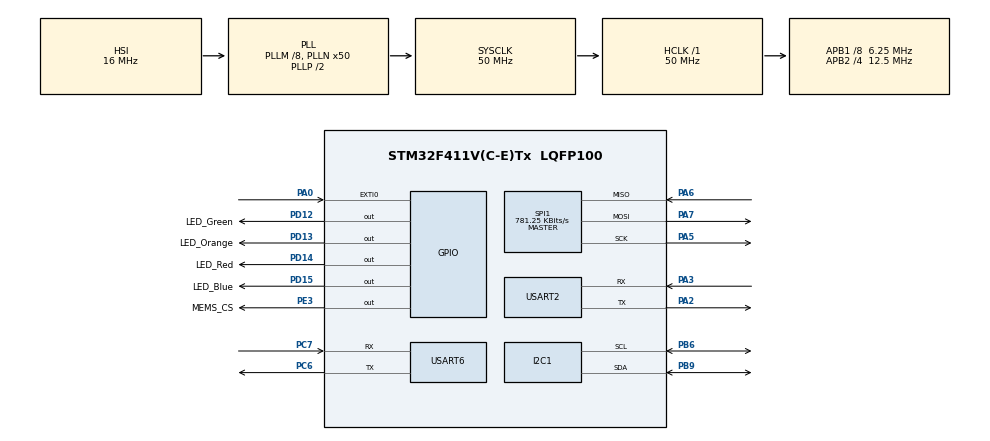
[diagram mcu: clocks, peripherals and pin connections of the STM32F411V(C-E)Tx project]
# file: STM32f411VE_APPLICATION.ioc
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FREERTOS.Mutexes01=uartMutex,Dynamic,NULL
FREERTOS.Queues01=accelDataQueue,4,uint16_t,0,Dynamic,NULL,NULL
FREERTOS.Tasks01=accelTask,24,480,AccelReadThread,Default,NULL,Dynamic,NULL,NULL;sendTask,24,240,TrasnsmitUartThread,Default,NULL,Dynamic,NULL,NULL;updateTask,40,480,UpdateHandleThread,Default,NULL,Dynamic,NULL,NULL
I2C1.I2C_Mode=I2C_Fast
Mcu.Family=STM32F4
Mcu.Name=STM32F411V(C-E)Tx
Mcu.Package=LQFP100
NVIC.EXTI0_IRQn=true\:5\:0\:false\:false\:true\:true\:true\:true
NVIC.PriorityGroup=NVIC_PRIORITYGROUP_4
NVIC.TIM5_IRQn=true\:0\:0\:false\:false\:true\:false\:false\:true
NVIC.TimeBase=TIM5_IRQn
NVIC.TimeBaseIP=TIM5
PA0-WKUP.Signal=GPXTI0
PA2.Mode=Asynchronous
PA2.Signal=USART2_TX
PA3.Mode=Asynchronous
PA3.Signal=USART2_RX
PA5.Mode=Full_Duplex_Master
PA5.Signal=SPI1_SCK
PA6.Mode=Full_Duplex_Master
PA6.Signal=SPI1_MISO
PA7.Mode=Full_Duplex_Master
PA7.Signal=SPI1_MOSI
PB6.Mode=I2C
PB6.Signal=I2C1_SCL
PB9.Mode=I2C
PB9.Signal=I2C1_SDA
PC6.Mode=Asynchronous
PC6.Signal=USART6_TX
PC7.Mode=Asynchronous
PC7.Signal=USART6_RX
PD12.GPIO_Label=LED_Green
PD12.GPIO_ModeDefaultOutputPP=GPIO_MODE_OUTPUT_PP
PD12.GPIO_PuPd=GPIO_NOPULL
PD12.GPIO_Speed=GPIO_SPEED_FREQ_LOW
PD12.PinState=GPIO_PIN_RESET
PD12.Signal=GPIO_Output
PD13.GPIO_Label=LED_Orange
PD13.GPIO_ModeDefaultOutputPP=GPIO_MODE_OUTPUT_PP
PD13.GPIO_PuPd=GPIO_NOPULL
PD13.GPIO_Speed=GPIO_SPEED_FREQ_LOW
PD13.PinState=GPIO_PIN_RESET
PD13.Signal=GPIO_Output
PD14.GPIO_Label=LED_Red
PD14.GPIO_ModeDefaultOutputPP=GPIO_MODE_OUTPUT_PP
PD14.GPIO_PuPd=GPIO_NOPULL
PD14.GPIO_Speed=GPIO_SPEED_FREQ_LOW
PD14.PinState=GPIO_PIN_RESET
PD14.Signal=GPIO_Output
PD15.GPIO_Label=LED_Blue
PD15.GPIO_ModeDefaultOutputPP=GPIO_MODE_OUTPUT_PP
PD15.GPIO_PuPd=GPIO_NOPULL
PD15.GPIO_Speed=GPIO_SPEED_FREQ_LOW
PD15.PinState=GPIO_PIN_RESET
PD15.Signal=GPIO_Output
PE3.GPIO_Label=MEMS_CS
PE3.GPIO_PuPd=GPIO_PULLUP
PE3.PinState=GPIO_PIN_SET
PE3.Signal=GPIO_Output
ProjectManager.HeapSize=0x200
ProjectManager.StackSize=0x400
ProjectManager.TargetToolchain=MDK-ARM V5
RCC.48MHZClocksFreq_Value=25000000
RCC.AHBFreq_Value=50000000
RCC.APB1CLKDivider=RCC_HCLK_DIV8
RCC.APB1Freq_Value=6250000
RCC.APB1TimFreq_Value=12500000
RCC.APB2CLKDivider=RCC_HCLK_DIV4
RCC.APB2Freq_Value=12500000
RCC.APB2TimFreq_Value=25000000
RCC.CortexFreq_Value=50000000
RCC.HCLKFreq_Value=50000000
RCC.HSE_VALUE=25000000
RCC.HSI_VALUE=16000000
RCC.LSE_VALUE=32768
RCC.PLLM=8
RCC.PLLN=50
RCC.SYSCLKFreq_VALUE=50000000
RCC.SYSCLKSource=RCC_SYSCLKSOURCE_PLLCLK
RCC.VCOOutputFreq_Value=100000000
SPI1.BaudRatePrescaler=SPI_BAUDRATEPRESCALER_16
SPI1.CalculateBaudRate=781.25 KBits/s
SPI1.Direction=SPI_DIRECTION_2LINES
SPI1.Mode=SPI_MODE_MASTER
SPI1.VirtualType=VM_MASTER
USART2.VirtualMode=VM_ASYNC
USART6.VirtualMode=VM_ASYNC
VP_FREERTOS_VS_CMSIS_V2.Mode=CMSIS_V2
VP_SYS_VS_tim5.Mode=TIM5
board=custom

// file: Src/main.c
/* USER CODE BEGIN Header */
/**
  ******************************************************************************
  * @file           : main.c
  * @brief          : Main program body
  ******************************************************************************
  * @attention
  *
  * <h2><center>&copy; Copyright (c) 2019 STMicroelectronics.
  * All rights reserved.</center></h2>
  *
  * This software component is licensed by ST under Ultimate Liberty license
  * SLA0044, the "License"; You may not use this file except in compliance with
  * the License. You may obtain a copy of the License at:
  *                             www.st.com/SLA0044
  *
  ******************************************************************************
  */
/* USER CODE END Header */

#include "main.h"
#include "cmsis_os.h"

/* USER CODE BEGIN Includes */
#include <string.h>
#include <stdlib.h>
#include <stdio.h>
#include <stdarg.h>
/* USER CODE END Includes */

/* USER CODE BEGIN PD */
#define BL_DEBEG_MSG_EN			// For Debugging
#define C_UART		&huart2
#define D_UART		&huart6
/* USER CODE END PD */

I2C_HandleTypeDef hi2c1;

SPI_HandleTypeDef hspi1;

UART_HandleTypeDef huart2;
UART_HandleTypeDef huart6;

osThreadId_t accelTaskHandle;
osThreadId_t sendTaskHandle;
osThreadId_t updateTaskHandle;
osMessageQueueId_t accelDataQueueHandle;
osMutexId_t uartMutexHandle;
/* USER CODE BEGIN PV */

char uartTxBuf[32];
osEventFlagsId_t evt_id;
uint32_t flags;

//----------------------------------------------------
SignatureTypeDef signature_sector;
uint8_t	rx_buffer[MAX_RX_BUFFER] = {0};
//----------------------------------------------------

/* USER CODE END PV */

void SystemClock_Config(void);
static void MX_GPIO_Init(void);
static void MX_SPI1_Init(void);
static void MX_USART2_UART_Init(void);
static void MX_USART6_UART_Init(void);
static void MX_I2C1_Init(void);
void AccelReadThread(void *argument);
void TrasnsmitUartThread(void *argument);
void UpdateHandleThread(void *argument);

/* USER CODE BEGIN PFP */
static void print_debug_msg(char *format,...);
/* USER CODE END PFP */

int main(void)
{

  /* MCU Configuration--------------------------------------------------------*/

  /* Reset of all peripherals, Initializes the Flash interface and the Systick. */
  HAL_Init();

  /* Configure the system clock */
  SystemClock_Config();

  /* Initialize all configured peripherals */
  MX_GPIO_Init();
  MX_SPI1_Init();
  MX_USART2_UART_Init();
  MX_USART6_UART_Init();
  MX_I2C1_Init();
  /* USER CODE BEGIN 2 */
	#ifdef STM32F407VGT6
	accel_init(&hspi1);	// initializing Accelerometer
	#endif
  /* USER CODE END 2 */

  osKernelInitialize();

  /* Create the mutex(es) */
  /* definition and creation of uartMutex */
  const osMutexAttr_t uartMutex_attributes = {
    .name = "uartMutex"
  };
  uartMutexHandle = osMutexNew(&uartMutex_attributes);

  /* Create the queue(s) */
  /* definition and creation of accelDataQueue */
  const osMessageQueueAttr_t accelDataQueue_attributes = {
    .name = "accelDataQueue"
  };
  accelDataQueueHandle = osMessageQueueNew (4, sizeof(MessageQueue_st), &accelDataQueue_attributes);

  /* Create the thread(s) */
  /* definition and creation of accelTask */
  const osThreadAttr_t accelTask_attributes = {
    .name = "accelTask",
    .priority = (osPriority_t) osPriorityNormal,
    .stack_size = 480
  };
  accelTaskHandle = osThreadNew(AccelReadThread, NULL, &accelTask_attributes);

  /* definition and creation of sendTask */
  const osThreadAttr_t sendTask_attributes = {
    .name = "sendTask",
    .priority = (osPriority_t) osPriorityNormal,
    .stack_size = 240
  };
  sendTaskHandle = osThreadNew(TrasnsmitUartThread, NULL, &sendTask_attributes);

  /* definition and creation of updateTask */
  const osThreadAttr_t updateTask_attributes = {
    .name = "updateTask",
    .priority = (osPriority_t) osPriorityHigh,
    .stack_size = 480
  };
  updateTaskHandle = osThreadNew(UpdateHandleThread, NULL, &updateTask_attributes);

  /* USER CODE BEGIN RTOS_THREADS */
  /* add threads, ... */

	//  creates a new event flags object that is used to
	//	send events across thread
	//	It can be safely called before the RTOS is started
	//	(call to osKernelStart), but not before it is initialized
	//	(call to osKernelInitialize).
	evt_id = osEventFlagsNew(NULL);
	  if (evt_id == NULL) {
    HAL_GPIO_WritePin(GPIOD, LED_Red_Pin, GPIO_PIN_SET); // Event Flags object not created, handle failure
    while(1);
  }
	osEventFlagsClear(evt_id, FLAGS_MSK);

  /* USER CODE END RTOS_THREADS */

  /* Start scheduler */
  osKernelStart();

  /* We should never get here as control is now taken by the scheduler */

  /* Infinite loop */
  while (1)
  {

  }
}

void SystemClock_Config(void)
{
  RCC_OscInitTypeDef RCC_OscInitStruct = {0};
  RCC_ClkInitTypeDef RCC_ClkInitStruct = {0};

  /** Configure the main internal regulator output voltage
  */
  __HAL_RCC_PWR_CLK_ENABLE();
  __HAL_PWR_VOLTAGESCALING_CONFIG(PWR_REGULATOR_VOLTAGE_SCALE1);
  /** Initializes the CPU, AHB and APB busses clocks
  */
  RCC_OscInitStruct.OscillatorType = RCC_OSCILLATORTYPE_HSI;
  RCC_OscInitStruct.HSIState = RCC_HSI_ON;
  RCC_OscInitStruct.HSICalibrationValue = RCC_HSICALIBRATION_DEFAULT;
  RCC_OscInitStruct.PLL.PLLState = RCC_PLL_ON;
  RCC_OscInitStruct.PLL.PLLSource = RCC_PLLSOURCE_HSI;
  RCC_OscInitStruct.PLL.PLLM = 8;
  RCC_OscInitStruct.PLL.PLLN = 50;
  RCC_OscInitStruct.PLL.PLLP = RCC_PLLP_DIV2;
  RCC_OscInitStruct.PLL.PLLQ = 4;
  if (HAL_RCC_OscConfig(&RCC_OscInitStruct) != HAL_OK)
  {
    Error_Handler();
  }
  /** Initializes the CPU, AHB and APB busses clocks
  */
  RCC_ClkInitStruct.ClockType = RCC_CLOCKTYPE_HCLK|RCC_CLOCKTYPE_SYSCLK
                              |RCC_CLOCKTYPE_PCLK1|RCC_CLOCKTYPE_PCLK2;
  RCC_ClkInitStruct.SYSCLKSource = RCC_SYSCLKSOURCE_PLLCLK;
  RCC_ClkInitStruct.AHBCLKDivider = RCC_SYSCLK_DIV1;
  RCC_ClkInitStruct.APB1CLKDivider = RCC_HCLK_DIV8;
  RCC_ClkInitStruct.APB2CLKDivider = RCC_HCLK_DIV4;

  if (HAL_RCC_ClockConfig(&RCC_ClkInitStruct, FLASH_LATENCY_1) != HAL_OK)
  {
    Error_Handler();
  }
}

static void MX_I2C1_Init(void)
{

  hi2c1.Instance = I2C1;
  hi2c1.Init.ClockSpeed = 400000;
  hi2c1.Init.DutyCycle = I2C_DUTYCYCLE_2;
  hi2c1.Init.OwnAddress1 = 0;
  hi2c1.Init.AddressingMode = I2C_ADDRESSINGMODE_7BIT;
  hi2c1.Init.DualAddressMode = I2C_DUALADDRESS_DISABLE;
  hi2c1.Init.OwnAddress2 = 0;
  hi2c1.Init.GeneralCallMode = I2C_GENERALCALL_DISABLE;
  hi2c1.Init.NoStretchMode = I2C_NOSTRETCH_DISABLE;
  if (HAL_I2C_Init(&hi2c1) != HAL_OK)
  {
    Error_Handler();
  }

}

static void MX_SPI1_Init(void)
{

  /* SPI1 parameter configuration*/
  hspi1.Instance = SPI1;
  hspi1.Init.Mode = SPI_MODE_MASTER;
  hspi1.Init.Direction = SPI_DIRECTION_2LINES;
  hspi1.Init.DataSize = SPI_DATASIZE_8BIT;
  hspi1.Init.CLKPolarity = SPI_POLARITY_LOW;
  hspi1.Init.CLKPhase = SPI_PHASE_1EDGE;
  hspi1.Init.NSS = SPI_NSS_SOFT;
  hspi1.Init.BaudRatePrescaler = SPI_BAUDRATEPRESCALER_16;
  hspi1.Init.FirstBit = SPI_FIRSTBIT_MSB;
  hspi1.Init.TIMode = SPI_TIMODE_DISABLE;
  hspi1.Init.CRCCalculation = SPI_CRCCALCULATION_DISABLE;
  hspi1.Init.CRCPolynomial = 10;
  if (HAL_SPI_Init(&hspi1) != HAL_OK)
  {
    Error_Handler();
  }

}

static void MX_USART2_UART_Init(void)
{

  huart2.Instance = USART2;
  huart2.Init.BaudRate = 115200;
  huart2.Init.WordLength = UART_WORDLENGTH_8B;
  huart2.Init.StopBits = UART_STOPBITS_1;
  huart2.Init.Parity = UART_PARITY_NONE;
  huart2.Init.Mode = UART_MODE_TX_RX;
  huart2.Init.HwFlowCtl = UART_HWCONTROL_NONE;
  huart2.Init.OverSampling = UART_OVERSAMPLING_16;
  if (HAL_UART_Init(&huart2) != HAL_OK)
  {
    Error_Handler();
  }

}

static void MX_USART6_UART_Init(void)
{

  huart6.Instance = USART6;
  huart6.Init.BaudRate = 115200;
  huart6.Init.WordLength = UART_WORDLENGTH_8B;
  huart6.Init.StopBits = UART_STOPBITS_1;
  huart6.Init.Parity = UART_PARITY_NONE;
  huart6.Init.Mode = UART_MODE_TX_RX;
  huart6.Init.HwFlowCtl = UART_HWCONTROL_NONE;
  huart6.Init.OverSampling = UART_OVERSAMPLING_16;
  if (HAL_UART_Init(&huart6) != HAL_OK)
  {
    Error_Handler();
  }

}

static void MX_GPIO_Init(void)
{
  GPIO_InitTypeDef GPIO_InitStruct = {0};

  /* GPIO Ports Clock Enable */
  __HAL_RCC_GPIOE_CLK_ENABLE();
  __HAL_RCC_GPIOA_CLK_ENABLE();
  __HAL_RCC_GPIOD_CLK_ENABLE();
  __HAL_RCC_GPIOC_CLK_ENABLE();
  __HAL_RCC_GPIOB_CLK_ENABLE();

  /*Configure GPIO pin Output Level */
  HAL_GPIO_WritePin(MEMS_CS_GPIO_Port, MEMS_CS_Pin, GPIO_PIN_SET);

  /*Configure GPIO pin Output Level */
  HAL_GPIO_WritePin(GPIOD, LED_Green_Pin|LED_Orange_Pin|LED_Red_Pin|LED_Blue_Pin, GPIO_PIN_RESET);

  /*Configure GPIO pin : MEMS_CS_Pin */
  GPIO_InitStruct.Pin = MEMS_CS_Pin;
  GPIO_InitStruct.Mode = GPIO_MODE_OUTPUT_PP;
  GPIO_InitStruct.Pull = GPIO_PULLUP;
  GPIO_InitStruct.Speed = GPIO_SPEED_FREQ_LOW;
  HAL_GPIO_Init(MEMS_CS_GPIO_Port, &GPIO_InitStruct);

  /*Configure GPIO pin : PA0 */
  GPIO_InitStruct.Pin = GPIO_PIN_0;
  GPIO_InitStruct.Mode = GPIO_MODE_IT_RISING;
  GPIO_InitStruct.Pull = GPIO_NOPULL;
  HAL_GPIO_Init(GPIOA, &GPIO_InitStruct);

  /*Configure GPIO pins : LED_Green_Pin LED_Orange_Pin LED_Red_Pin LED_Blue_Pin */
  GPIO_InitStruct.Pin = LED_Green_Pin|LED_Orange_Pin|LED_Red_Pin|LED_Blue_Pin;
  GPIO_InitStruct.Mode = GPIO_MODE_OUTPUT_PP;
  GPIO_InitStruct.Pull = GPIO_NOPULL;
  GPIO_InitStruct.Speed = GPIO_SPEED_FREQ_LOW;
  HAL_GPIO_Init(GPIOD, &GPIO_InitStruct);

  /* EXTI interrupt init*/
  HAL_NVIC_SetPriority(EXTI0_IRQn, 5, 0);
  HAL_NVIC_EnableIRQ(EXTI0_IRQn);

}

/* USER CODE BEGIN 4 */

static void print_debug_msg(char *format,...)
{
	#ifdef BL_DEBEG_MSG_EN
	char str[80];

	va_list args;
	va_start(args, format);
	vsprintf(str, format, args);
	HAL_UART_Transmit(D_UART,(uint8_t *)str, strlen(str),HAL_MAX_DELAY);
	va_end(args);
	#endif
}

static void FLASH_EraseSector(void)
{
	uint32_t prim;
	prim = __get_PRIMASK();

	__disable_irq();
	HAL_FLASH_Unlock();
	FLASH_Erase_Sector(SIGNATURE_SECTOR_NO, FLASH_VOLTAGE_RANGE_3);
	HAL_FLASH_Lock();

	if(!prim)// If disabled then only enable
	{
		__enable_irq();
	}
}

void write_to_flash_word(uint32_t offSet, void *wrBuf, uint32_t Nsize)
{
	uint32_t prim;
	uint32_t flash_address = SIGNATURE_FLASH_ADDRESS + offSet;

	//Erase sector before write
	FLASH_EraseSector();				// This will increasing the latency by substancial amount

	__disable_irq();
	//Unlock Flash
	HAL_FLASH_Unlock();
	//HAL_FLASH_Program(FLASH_TYPEPROGRAM_WORD, flashAddress + 8, 0xFFFFFFFF);
	//Write to Flash
	for(uint32_t i=0; i<Nsize; i++)
	{
		//flag = ((uint32_t *)wrBuf)[i];
		HAL_FLASH_Program(FLASH_TYPEPROGRAM_WORD, flash_address , ((uint32_t *)wrBuf)[i]);
		//HAL_Delay(2000);
		flash_address+=4;
	}

	//Lock the Flash space
	HAL_FLASH_Lock();
	if(!prim)
	{
		__enable_irq();
	}
}

/************Function Definations for Sensors********************/
#ifdef STM32F407VGT6
// Accelerometer Initializtion function
void accel_init(SPI_HandleTypeDef *hspi)
{
	/*	Default Full Scale = 2g
	 *	For this Default Full Scale value, Sensitivity = 0.06 mg/digit
	 *	If the device is perfectly level and not moving, then:
					----> X/Y accel axes should read 0
					---->	Z accel axis should read 1g,
								which is +16384 at a sensitivity of 2g
	*/

	reg = 0x20;									// CTRL_REG4
	spiTxBuf[0]	=	0x17;					/*Enabling X, Y and z axis
																Setting Data Rate to 3.125 Hz */
	writeIO(reg,spiTxBuf, 1);

	reg = 0x25;									//CTRL_REG6
	spiTxBuf[0]	=	0x10;					//AUTO INC
	writeIO(reg,spiTxBuf, 1);
}

// Reading Accelerometer RAW values
AccelDataTypeDef accel_data_read(void)
{
	AccelDataTypeDef tempData;

	//Reading X value
	readIO(OUT_X_ADDR, spiRxBuf, 2);
	tempData.xVal = ((spiRxBuf[1] << 8) + spiRxBuf[0]);

	//Reading Y value
	readIO(OUT_Y_ADDR, spiRxBuf, 2);
	tempData.yVal = ((spiRxBuf[1] << 8) + spiRxBuf[0]);

	//Reading Z value
	readIO(OUT_Z_ADDR, spiRxBuf, 2);
	tempData.zVal = ((spiRxBuf[1] << 8) + spiRxBuf[0]);

	return tempData;
}

// Reading X,Y,Z in scaled format
AccelScaledDataTypeDef get_scaled_data(void)
{
	AccelDataTypeDef tempRawData =  accel_data_read();
	AccelScaledDataTypeDef tempScaledData;

	tempScaledData.xVal = (tempRawData.xVal * SENSITIVITY) + 0.0f;
	tempScaledData.yVal = (tempRawData.yVal * SENSITIVITY) + 0.0f;
	tempScaledData.zVal = (tempRawData.zVal * SENSITIVITY) + 0.0f;

	return tempScaledData;
}

void writeIO(uint8_t reg, uint8_t *dataW, uint8_t size)
{
	/* 	For TRANSMITTING DATA via SPI following
			3 Steps must be followed:
	1. Bringing Slave Select line low
	2. Tranmitting Register + data
	3. Bringing Slave Select to high
	*/

	//Enable CS
	_CS_ENABLE;
	//set register value
	HAL_SPI_Transmit(&hspi1, &reg, 1, 10);
	//Transmit data
	HAL_SPI_Transmit(&hspi1, dataW, size, 10);
	_CS_DISABLE;
}

void	readIO(uint8_t reg, uint8_t *dataR, uint8_t size)
{
	/* 	For RECEIVING DATA from the Accelerometer
			following 4 steps must be followed:
	1. Bringing Slave Select line low
	2. Tranmitting Register +0x80
	3. Receiving Data
	4. Bringing Slave Select to high
	*/

	uint8_t temp = reg|0x80;	/*0x80 makes MSB 1 denoting that Master needs
															to read data from the slave (Accelerometer)*/
	//Enable CS
	_CS_ENABLE;
	//set register value
	HAL_SPI_Transmit(&hspi1, &temp, 1, 10);
	//Transmit data
	HAL_SPI_Receive(&hspi1, dataR, size, 10);
	//Disable CS
	_CS_DISABLE;
}

#else
/*************STM32F411VE********************/
void initAccel_LSM303DLHC(void)
{
	uint8_t i2cBuf[8] = {0};
	uint8_t i2cRxBuf[8] = {0};
	/*---------CTRL_REG1_A(20H)---------------------
	*			Enable all the axises
	*			Set the Power mode and ODR selection
	*
	*/
	i2cBuf[0] = 0x20; //Register address
	i2cBuf[1] = 0x57;//  z,y,x axis enabled , 100Hz data rate
	HAL_I2C_Master_Transmit(&hi2c1,DEV_ADDRESS, i2cBuf,2,10);

	//Read back
	i2cBuf[0] = 0x20;
	HAL_I2C_Master_Transmit(&hi2c1,DEV_ADDRESS, i2cBuf,1,10);
	HAL_I2C_Master_Receive(&hi2c1, DEV_ADDRESS, i2cRxBuf,1,10);

	/*----------CTRL_REG4_A(23H)--------------------
	*				Full scale selectionq
	*				High-resolution mode
	*/
	i2cBuf[0] = 0x23;//Register Address
	i2cBuf[1] = 0x28; // +/- 8G full scale: FS = 10 on DLHC, high resolution output mode
	HAL_I2C_Master_Transmit(&hi2c1,DEV_ADDRESS, i2cBuf,2,10);

	//Read back
	i2cBuf[0] = 0x23;//Register Address
	HAL_I2C_Master_Transmit(&hi2c1,DEV_ADDRESS, i2cBuf,1,10);
	HAL_I2C_Master_Receive(&hi2c1, DEV_ADDRESS, i2cRxBuf,1,10);

	/************ENABLE HIGH PASS FILTER**********************/
	/*----------CTRL_REG2_A(21H)--------------------
	*				High pass filter to reduce noise
	*/
	i2cBuf[0] = 0x21;//Register Address
	//i2cBuf[1] = 0x08;
	HAL_I2C_Master_Transmit(&hi2c1,DEV_ADDRESS,i2cBuf,1,10);
	HAL_I2C_Master_Receive(&hi2c1, DEV_ADDRESS, i2cRxBuf,1,10);

	//Read back
	i2cBuf[0] = 0x21;//Register Address
	i2cBuf[1] = i2cRxBuf[0] & 0xF7;
	i2cBuf[1] |= 0x08;
	HAL_I2C_Master_Transmit(&hi2c1,DEV_ADDRESS, i2cBuf,2,10);
	HAL_I2C_Master_Receive(&hi2c1, DEV_ADDRESS, i2cRxBuf,1,10);
	/**********************************************************/
}

int16_t* getAccelData(int16_t *data)
{
	uint8_t i2cBuf[8] = {0};
	uint8_t i2cRxBuf[8] = {0};
	/**************X AXIS*****************************/
		//OUT_X_L_A (28h), OUT_X_H_A (29h)
		i2cBuf[0] = 0x28;
		HAL_I2C_Master_Transmit(&hi2c1, DEV_ADDRESS,&i2cBuf[0],1,10);
		HAL_I2C_Master_Receive(&hi2c1,DEV_ADDRESS,&i2cRxBuf[0],1,10);

		i2cBuf[1] = 0x29;
		HAL_I2C_Master_Transmit(&hi2c1, DEV_ADDRESS,&i2cBuf[1],1,10);
		HAL_I2C_Master_Receive(&hi2c1,DEV_ADDRESS,&i2cRxBuf[1],1,10);

		data[0] =((int16_t)((uint16_t)i2cRxBuf[1]<< 8) + i2cRxBuf[0]);

		/**************Y AXIS*****************************/
		//OUT_Y_L_A (2Ah), OUT_Y_H_A (2Bh)
		i2cBuf[2] = 0x2A;
		HAL_I2C_Master_Transmit(&hi2c1, DEV_ADDRESS,&i2cBuf[2],1,10);
		HAL_I2C_Master_Receive(&hi2c1,DEV_ADDRESS,&i2cRxBuf[2],1,10);

		i2cBuf[3] = 0x2B;
		HAL_I2C_Master_Transmit(&hi2c1, DEV_ADDRESS,&i2cBuf[3],1,10);
		HAL_I2C_Master_Receive(&hi2c1,DEV_ADDRESS,&i2cRxBuf[3],1,10);

		data[1] =((int16_t)((uint16_t)i2cRxBuf[3]<< 8) + i2cRxBuf[2]);

		/**************Z AXIS*****************************/
		//OUT_Z_L_A (2Ch), OUT_Z_H_A (2Dh)
		i2cBuf[4] = 0x2C;
		HAL_I2C_Master_Transmit(&hi2c1, DEV_ADDRESS,&i2cBuf[4],1,10);
		HAL_I2C_Master_Receive(&hi2c1,DEV_ADDRESS,&i2cRxBuf[4],1,10);

		i2cBuf[5] = 0x2D;
		HAL_I2C_Master_Transmit(&hi2c1, DEV_ADDRESS,&i2cBuf[5],1,10);
		HAL_I2C_Master_Receive(&hi2c1,DEV_ADDRESS,&i2cRxBuf[5],1,10);

		data[2] =((int16_t)((uint16_t)i2cRxBuf[5]<< 8) + i2cRxBuf[4]);

		for (uint8_t idx =0; idx < 3; idx++)
		{
			data[idx] = data[idx] >> 2;//+/- 8G full scale
		}
		return data;
}
#endif /* STM32F407VGT6 */

//Defining callback for the external interrupt
 void HAL_GPIO_EXTI_Callback(uint16_t GPIO_Pin)
{
  /* Prevent unused argument(s) compilation warning */
  UNUSED(GPIO_Pin);
  /* NOTE: This function Should not be modified, when the callback is needed,
           the HAL_GPIO_EXTI_Callback could be implemented in the user file
   */

	// Switch Pressed
	signature_sector = *(SignatureTypeDef *)(uint32_t *)SIGNATURE_FLASH_ADDRESS;	// Reading Boot status structure from flash
	if(signature_sector.updateAvailable == TRUE)
	{
			// STM is ready for the update. JUMP TO BOOTLOADER
			// ESP can download the update and wait for the "ready" sign
			//from STM side
			osEventFlagsSet(evt_id, 0x00000002U);
			// for(uint32_t i=0; i<10000;i++);						// DEBOUNCING DELAY
	}
	else
	{
		//User Button pressed for the first time
		// Check for update
		osEventFlagsSet(evt_id, 0x00000001U);
	}
}

OTAUpdateRequestTypeDef* parsing_update_request(OTAUpdateRequestTypeDef *handle, char *data)
{
	char* token = strtok(data, "$");
	strcpy(handle->board, token);

	token = strtok(NULL, "$");
	handle->version = (uint32_t)strtol(token, NULL, 10);

	token = strtok(NULL, "$");
	strcpy(handle->secure_id, token);

	token = strtok(NULL, "$");
	handle->sector_no = (uint32_t)strtol(token, NULL, 10);

	token = strtok(NULL, "$");
	handle->sector_addr = (uint32_t)strtol(token, NULL, 16);

	return handle;
}

char *strrev(char *str)
{
	char c, *front, *back;
	if(!str || !*str)
			return str;
	for(front=str,back=str+strlen(str)-1;front < back;front++,back--){
			c=*front;*front=*back;*back=c;
	}
	return str;
}

/* USER CODE END 4 */

void AccelReadThread(void *argument)
{

  /* USER CODE BEGIN 5 */
	#ifdef STM32F407VGT6
	uint8_t spiTxBuf[2];		// SPI Transmit Buffer
	uint8_t spiRxBuf[2];		// SPI Receive Buffer
	uint8_t reg;						// register of Accelerometer
	AccelDataTypeDef myAccelData;
	AccelScaledDataTypeDef myAccelScaledData;
	float x,y,z;
	#else
	/************STM32F411VE******************/
	int16_t rawAccelData[3]= {0};
	float accelData[3] = {0};
	#endif
	MessageQueue_st msg;
	osStatus_t status;
	initAccel_LSM303DLHC();
  /* Infinite loop */
  for(;;)
  {
		#ifdef STM32F407VGT6
		//myAccelData = accel_data_read();
		myAccelScaledData = get_scaled_data();
		x = myAccelScaledData.xVal;
		y = myAccelScaledData.yVal;
		z = myAccelScaledData.zVal;
		sprintf(uartTxBuf,"%04.3f,%04.3f,%04.3f$",x,y,z);	// Appended Accelerometer Data with '$'
		#else
		/*******STM32F411VE********************/
		getAccelData(rawAccelData);//read accelerometer data
		for(uint8_t i = 0; i < 3; i++)
		{
			accelData[i] = (rawAccelData[i]*SENSITIVITY) + 0.0f;
		}
		sprintf(uartTxBuf,"%04.3f,%04.3f,%04.3f\r\n",accelData[0],accelData[1],accelData[2]);
		//sprintf(uartTxBuf,"Hello From Sensor\r\n");
		#endif
		strcpy(msg.data,uartTxBuf);//Copy msg to the buffer

		//p1: handle to message queue
		//p2: address to the message structure
		//p3: Priority is NULL
		//p4: No wait returns instantly
		/*
			case 1: p4 as osWaitForever
							Queue was blocked untill msg delivered
			case 2: p4 as no wait still it's working
			*/
		status = osMessageQueuePut(accelDataQueueHandle, &msg, NULL,0);
		if(status != osOK)
		{
			//Error Handling
			HAL_GPIO_WritePin(GPIOD, LED_Red_Pin, GPIO_PIN_SET);
		}
		//HAL_UART_Transmit(&huart2, (uint8_t *)uartTxBuf,strlen(uartTxBuf),50);
    osDelay(500);
  }
  /* USER CODE END 5 */
}

void TrasnsmitUartThread(void *argument)
{
  /* USER CODE BEGIN TrasnsmitUartThread */
	MessageQueue_st recMsg;
	osStatus_t status;
  /* Infinite loop */
  for(;;)
  {
    //p1: handle to message queue
		//p2: address to the message structure
		//p3: Priority is NULL
		//p4: No wait returns instantly or osWaitForever
		//		In both the cases it working
		status = osMessageQueueGet(accelDataQueueHandle, &recMsg, NULL, osWaitForever);
		if(status == osOK)
		{
			//Success
			//---- APPLY MUTEX HERE(ACQUIRE)
			if (uartMutexHandle != NULL) {
				status = osMutexAcquire(uartMutexHandle, osWaitForever);
				if (status != osOK)  {
					// handle failure code
					HAL_GPIO_WritePin(GPIOD, LED_Red_Pin, GPIO_PIN_SET);
				}
				else
				{
					//----------------------- CRITICAL SECTION ----------------------------------------
					HAL_UART_Transmit(C_UART,(uint8_t *)recMsg.data,strlen(recMsg.data), HAL_MAX_DELAY);
					//-----------------------------------------------------------------------------------
				}
				//---- APPLY MUTEX HERE(RELEASE)
				status = osMutexRelease(uartMutexHandle);
				if (status != osOK)  {
					// handle failure code
					HAL_GPIO_WritePin(GPIOD, LED_Red_Pin, GPIO_PIN_SET);
				}
			}
			memset(recMsg.data,0,32);
		}
		else
		{
			HAL_GPIO_WritePin(GPIOD, LED_Red_Pin, GPIO_PIN_SET);
		}
		osDelay(1);
	}
  /* USER CODE END TrasnsmitUartThread */
}

void UpdateHandleThread(void *argument)
{
  /* USER CODE BEGIN UpdateHandleThread */
	osStatus_t status;
  /* Infinite loop */
  for(;;)
  {
		// Create a buffer for receive on uart
		OTAUpdateRequestTypeDef update_request;
		uint8_t updateFlag = 0;
		flags = 0;
		memset(uartTxBuf, 0, 32);
		//strcpy(uartTxBuf,CHECKUPDATE);
		flags = osEventFlagsWait(evt_id, FLAGS_MSK, osFlagsWaitAny, osWaitForever);
		if(flags != osFlagsErrorResource && flags != osFlagsErrorParameter)
		{
			if((flags&0x00000001) == 0x00000001)
			{
				// Check For Update
				//Prepare the buffer for receiving update information
				//memset(rx_buffer, 0, MAX_RX_BUFFER);

				// We should not use mutex here (In my Opinion)
				//---- APPLY MUTEX HERE(ACQUIRE)
				if (uartMutexHandle != NULL) {
					status = osMutexAcquire(uartMutexHandle, osWaitForever);
					if (status != osOK)  {
						// handle failure code
						HAL_GPIO_WritePin(GPIOD, LED_Red_Pin, GPIO_PIN_SET);
					}
					else
					{
						//----------------------- CRITICAL SECTION ----------------------------
						HAL_UART_Transmit(C_UART, (uint8_t *)CHECKUPDATE, strlen(CHECKUPDATE), HAL_MAX_DELAY);

						// Waiting for Response (ACK - Authentication frame or NACK)
						HAL_UART_Receive(C_UART, rx_buffer, MAX_RX_BUFFER, HAL_MAX_DELAY);
						//---------------------------------------------------------------------
					}
					//---- APPLY MUTEX HERE(RELEASE)
					status = osMutexRelease(uartMutexHandle);
					if (status != osOK)  {
						// handle failure code
						HAL_GPIO_WritePin(GPIOD, LED_Red_Pin, GPIO_PIN_SET);
					}
				}

				/* Check for Authentication of update
				// If it is Authentic, update the Signature Structure with updateFlag = TRUE
				// Also, turn ON Green LED to notify user about the update and also send ACK
				// to the ESP32 which is nothing but the but just the SecureID in Reverse order*/
				parsing_update_request(&update_request, (char *)rx_buffer);

				if((strcmp(BOARD_NAME, update_request.board) == 0)
					&& (strcmp(SECURE_ID, update_request.secure_id) == 0)
					/*&& (strcmp(signature_sector.version,update_request.version) == 0)*/)
				{
					updateFlag = 1;
				}
				else
				{
					updateFlag = 0;
				}

				if(updateFlag == 1)
				{
					//AUTH Success
					//signature_sector.current = signature_sector.starting_address;
					signature_sector.sector_no = update_request.sector_no;
					signature_sector.sector_addr = update_request.sector_addr;
					signature_sector.version = update_request.version;
					signature_sector.updateAvailable = TRUE;				// Setting Flag of update available

					write_to_flash_word(0, &signature_sector, 5);		// Writing the updated structure to flash

					//Response (ACK) to the ESP
					//temp = *(SignatureTypeDef *)(uint32_t *)SIGNATURE_FLASH_ADDRESS;
					strrev(update_request.secure_id);//Reverse of secure id

					//---- APPLY MUTEX HERE(ACQUIRE)
					if (uartMutexHandle != NULL) {
						status = osMutexAcquire(uartMutexHandle, osWaitForever);
						if (status != osOK)  {
							// handle failure code
							HAL_GPIO_WritePin(GPIOD, LED_Red_Pin, GPIO_PIN_SET);
						}
						else
						{
							//------------------------------------- CRITICAL SECTION ---------------------------------------------------
							HAL_UART_Transmit(C_UART,(uint8_t *)update_request.secure_id, strlen(update_request.secure_id),HAL_MAX_DELAY);
							//HAL_UART_Transmit(C_UART, &response, 1, HAL_MAX_DELAY);
							//------------------------------------------------------------------------------------------------------------
						}
						//---- APPLY MUTEX HERE(RELEASE)
						status = osMutexRelease(uartMutexHandle);
						if (status != osOK)  {
							// handle failure code
							HAL_GPIO_WritePin(GPIOD, LED_Red_Pin, GPIO_PIN_SET);
						}
					}

					HAL_GPIO_WritePin(GPIOD, LED_Green_Pin, GPIO_PIN_SET);				// Making Green LED ON as a status of available update
					//return;
				}
				else
				{
					//Failed AUTH
					//Return same secure id which was received (NACK)
					//---- APPLY MUTEX HERE(RELEASE)
					if (uartMutexHandle != NULL) {
						status = osMutexAcquire(uartMutexHandle, osWaitForever);
						if (status != osOK)  {
							// handle failure code
							HAL_GPIO_WritePin(GPIOD, LED_Red_Pin, GPIO_PIN_SET);
						}
						else
						{
							//------------------------------------- CRITICAL SECTION ---------------------------------------------------
							HAL_UART_Transmit(C_UART,(uint8_t *)update_request.secure_id, strlen(update_request.secure_id),HAL_MAX_DELAY);
							//HAL_UART_Transmit(C_UART, &response, 1, HAL_MAX_DELAY);
							//------------------------------------------------------------------------------------------------------------
						}
						//---- APPLY MUTEX HERE(RELEASE)
						status = osMutexRelease(uartMutexHandle);
						if (status != osOK)  {
							// handle failure code
							HAL_GPIO_WritePin(GPIOD, LED_Red_Pin, GPIO_PIN_SET);
						}
					}
				}
			}
			else if((flags&0x00000002) == 0x00000002)
			{
				// STM is ready for the update
				// ESP can download the updated firmware
				HAL_GPIO_WritePin(GPIOD, LED_Blue_Pin, GPIO_PIN_SET);
				//JUMP TO BOOTLOADER
				print_debug_msg("Bootloader JUMP\r\n");

				// Reset MCU
				NVIC_SystemReset();
			}
		}
		osDelay(1);
	}
  /* USER CODE END UpdateHandleThread */
}

void HAL_TIM_PeriodElapsedCallback(TIM_HandleTypeDef *htim)
{
  if (htim->Instance == TIM5) {
    HAL_IncTick();
  }
}

void Error_Handler(void)
{
}

/************************ (C) COPYRIGHT STMicroelectronics *****END OF FILE****/
